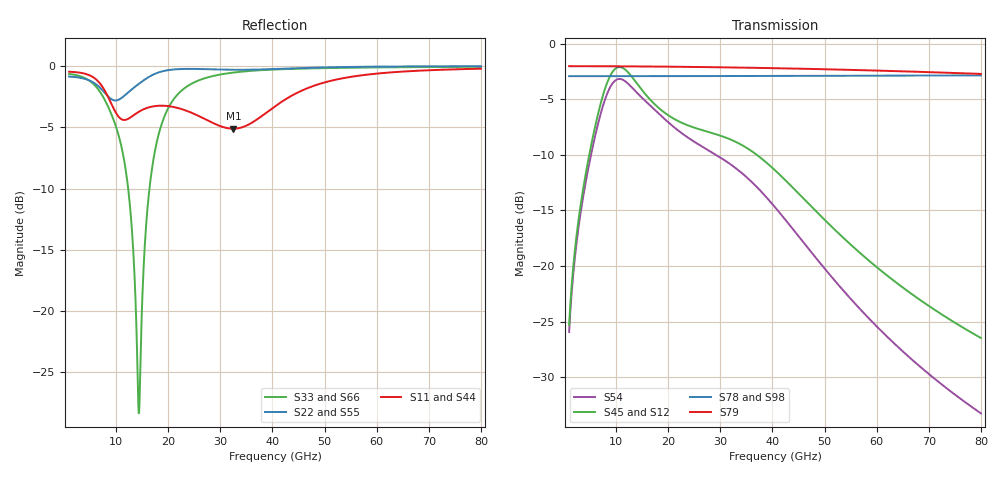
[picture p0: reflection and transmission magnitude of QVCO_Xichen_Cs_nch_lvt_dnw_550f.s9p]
! Touchstone Ver. 1.0
! Number of ports is 9
# Hz	S	RI	R	50.000000
! SCATTERING PARAMETERS  :
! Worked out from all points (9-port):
!   1001 points, 1 GHz to 80 GHz, reference 50 ohm
!   strongest paths, dB at 1 GHz, 20.75 GHz, 40.5 GHz, 60.25 GHz, 80 GHz:
!     S79: -2.0, -2.1, -2.2, -2.4, -2.7
!     S78: -2.9, -2.9, -2.9, -2.9, -2.9
!     S98: -2.9, -3.0, -3.0, -3.1, -3.2
!     S45: -25.3, -6.7, -11.4, -20.2, -26.5
!     S12: -25.3, -6.7, -11.4, -20.2, -26.5
!     S54: -25.9, -7.4, -14.7, -25.5, -33.2
!   lowest |S11| = -5.1 dB at 32.52 GHz (marker M1), VSWR 3.49, Z = 85.5 + j79.6 ohm
!   |S11| at or under -10 dB: nowhere
